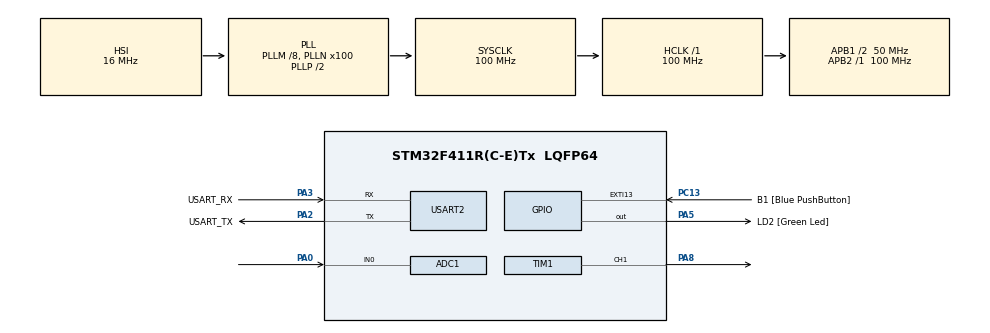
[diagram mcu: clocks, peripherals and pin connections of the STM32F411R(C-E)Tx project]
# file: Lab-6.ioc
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ADC1.Channel-0\#ChannelRegularConversion=ADC_CHANNEL_0
ADC1.ExternalTrigConv=ADC_EXTERNALTRIGCONV_T3_TRGO
ADC1.NbrOfConversion=1
ADC1.NbrOfConversionFlag=1
ADC1.Rank-0\#ChannelRegularConversion=1
ADC1.SamplingTime-0\#ChannelRegularConversion=ADC_SAMPLETIME_56CYCLES
ADC1.master=1
Mcu.Family=STM32F4
Mcu.Name=STM32F411R(C-E)Tx
Mcu.Package=LQFP64
NVIC.ADC_IRQn=true\:0\:0\:false\:false\:true\:true\:true
NVIC.PriorityGroup=NVIC_PRIORITYGROUP_0
NVIC.TIM1_TRG_COM_TIM11_IRQn=true\:0\:0\:false\:false\:true\:true\:true
PA0-WKUP.Signal=ADCx_IN0
PA13.GPIO_Label=TMS
PA13.Mode=Serial_Wire
PA13.Signal=SYS_JTMS-SWDIO
PA14.GPIO_Label=TCK
PA14.Mode=Serial_Wire
PA14.Signal=SYS_JTCK-SWCLK
PA2.GPIO_Label=USART_TX
PA2.Mode=Asynchronous
PA2.Signal=USART2_TX
PA3.GPIO_Label=USART_RX
PA3.Mode=Asynchronous
PA3.Signal=USART2_RX
PA5.GPIO_Label=LD2 [Green Led]
PA5.Signal=GPIO_Output
PA8.Signal=S_TIM1_CH1
PB3.GPIO_Label=SWO
PB3.Signal=SYS_JTDO-SWO
PC13-ANTI_TAMP.GPIO_Label=B1 [Blue PushButton]
PC13-ANTI_TAMP.GPIO_ModeDefaultEXTI=GPIO_MODE_IT_FALLING
PC13-ANTI_TAMP.Signal=GPXTI13
PC14-OSC32_IN.Mode=LSE-External-Oscillator
PC14-OSC32_IN.Signal=RCC_OSC32_IN
PC15-OSC32_OUT.Mode=LSE-External-Oscillator
PC15-OSC32_OUT.Signal=RCC_OSC32_OUT
PH0\ -\ OSC_IN.Mode=HSE-External-Clock-Source
PH0\ -\ OSC_IN.Signal=RCC_OSC_IN
PH1\ -\ OSC_OUT.Mode=HSE-External-Clock-Source
PH1\ -\ OSC_OUT.Signal=RCC_OSC_OUT
ProjectManager.HeapSize=0x200
ProjectManager.StackSize=0x400
ProjectManager.TargetToolchain=STM32CubeIDE
RCC.48MHZClocksFreq_Value=50000000
RCC.AHBFreq_Value=100000000
RCC.APB1CLKDivider=RCC_HCLK_DIV2
RCC.APB1Freq_Value=50000000
RCC.APB1TimFreq_Value=100000000
RCC.APB2Freq_Value=100000000
RCC.APB2TimFreq_Value=100000000
RCC.CortexFreq_Value=100000000
RCC.FLatency-AdvancedSettings=FLASH_LATENCY_3
RCC.HCLKFreq_Value=100000000
RCC.HSE_VALUE=8000000
RCC.HSI_VALUE=16000000
RCC.PLLM=8
RCC.PLLN=100
RCC.SYSCLKFreq_VALUE=100000000
RCC.SYSCLKSource=RCC_SYSCLKSOURCE_PLLCLK
RCC.VCOOutputFreq_Value=200000000
SH.ADCx_IN0.0=ADC1_IN0,IN0
SH.S_TIM1_CH1.0=TIM1_CH1,PWM Generation1 CH1
TIM1.AutoReloadPreload=TIM_AUTORELOAD_PRELOAD_ENABLE
TIM1.Channel-PWM\ Generation1\ CH1=TIM_CHANNEL_1
TIM1.Period=10000
TIM11.Prescaler=99
TIM2.Period=1000
TIM2.Prescaler=99
TIM3.Period=1000
TIM3.Prescaler=99
TIM3.TIM_MasterOutputTrigger=TIM_TRGO_UPDATE
USART2.VirtualMode=VM_ASYNC
VP_TIM11_VS_ClockSourceINT.Mode=Enable_Timer
VP_TIM1_VS_ClockSourceINT.Mode=Internal
VP_TIM2_VS_ClockSourceINT.Mode=Internal
VP_TIM3_VS_ClockSourceINT.Mode=Internal
board=NUCLEO-F411RE

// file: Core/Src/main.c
/* USER CODE BEGIN Header */
/**
 ******************************************************************************
 * @file           : main.c
 * @brief          : Main program body
 ******************************************************************************
 * @attention
 *
 * <h2><center>&copy; Copyright (c) 2021 STMicroelectronics.
 * All rights reserved.</center></h2>
 *
 * This software component is licensed by ST under BSD 3-Clause license,
 * the "License"; You may not use this file except in compliance with the
 * License. You may obtain a copy of the License at:
 *                        opensource.org/licenses/BSD-3-Clause
 *
 ******************************************************************************
 */
/* USER CODE END Header */
#include "main.h"

ADC_HandleTypeDef hadc1;

TIM_HandleTypeDef htim1;
TIM_HandleTypeDef htim2;
TIM_HandleTypeDef htim3;
TIM_HandleTypeDef htim11;

UART_HandleTypeDef huart2;

/* USER CODE BEGIN PV */

uint8_t ADCUpdateFlag = 0;
uint16_t ADCFeedBack = 0;

uint16_t PWMOut = 0;
uint64_t _micro = 0;
uint64_t TimeOutputLoop = 0;

float VoltageFeedback = 0;
float VoltageSource = 3.3;
float VoltageReference = 1.0;
float VoltageError = 0;

uint32_t K_p = 500;

/* USER CODE END PV */

void SystemClock_Config(void);
static void MX_GPIO_Init(void);
static void MX_USART2_UART_Init(void);
static void MX_ADC1_Init(void);
static void MX_TIM3_Init(void);
static void MX_TIM1_Init(void);
static void MX_TIM11_Init(void);
static void MX_TIM2_Init(void);
/* USER CODE BEGIN PFP */
uint64_t micros();
/* USER CODE END PFP */

int main(void)
{

  /* MCU Configuration--------------------------------------------------------*/

  /* Reset of all peripherals, Initializes the Flash interface and the Systick. */
  HAL_Init();

  /* Configure the system clock */
  SystemClock_Config();

  /* Initialize all configured peripherals */
  MX_GPIO_Init();
  MX_USART2_UART_Init();
  MX_ADC1_Init();
  MX_TIM3_Init();
  MX_TIM1_Init();
  MX_TIM11_Init();
  MX_TIM2_Init();
  /* USER CODE BEGIN 2 */
	//Start ADC
	HAL_ADC_Start_IT(&hadc1);
	HAL_TIM_Base_Start(&htim3);

	//Start PWM
	HAL_TIM_Base_Start(&htim1);
	HAL_TIM_PWM_Start(&htim1, TIM_CHANNEL_1);

	//Start Micros
	HAL_TIM_Base_Start_IT(&htim11);

  /* USER CODE END 2 */

  /* Infinite loop */
	while (1) {

    /* USER CODE BEGIN 3 */

		//1 Khz Loop
		if (micros() - TimeOutputLoop > 1000)
		{
			TimeOutputLoop = micros();
			// #001  (Constant Output's frequency 1kHz)

			VoltageFeedback = ADCFeedBack * VoltageSource / 4096.0;

			VoltageError = VoltageReference - VoltageFeedback;

			PWMOut = PWMOut + (VoltageError * K_p);

			__HAL_TIM_SET_COMPARE(&htim1, TIM_CHANNEL_1, PWMOut);
		}

		if (ADCUpdateFlag)
		{
			ADCUpdateFlag = 0;
			//#002  (Input's frequency)
		}

	}
  /* USER CODE END 3 */
}

void SystemClock_Config(void)
{
  RCC_OscInitTypeDef RCC_OscInitStruct = {0};
  RCC_ClkInitTypeDef RCC_ClkInitStruct = {0};

  /** Configure the main internal regulator output voltage
  */
  __HAL_RCC_PWR_CLK_ENABLE();
  __HAL_PWR_VOLTAGESCALING_CONFIG(PWR_REGULATOR_VOLTAGE_SCALE1);
  /** Initializes the RCC Oscillators according to the specified parameters
  * in the RCC_OscInitTypeDef structure.
  */
  RCC_OscInitStruct.OscillatorType = RCC_OSCILLATORTYPE_HSI;
  RCC_OscInitStruct.HSIState = RCC_HSI_ON;
  RCC_OscInitStruct.HSICalibrationValue = RCC_HSICALIBRATION_DEFAULT;
  RCC_OscInitStruct.PLL.PLLState = RCC_PLL_ON;
  RCC_OscInitStruct.PLL.PLLSource = RCC_PLLSOURCE_HSI;
  RCC_OscInitStruct.PLL.PLLM = 8;
  RCC_OscInitStruct.PLL.PLLN = 100;
  RCC_OscInitStruct.PLL.PLLP = RCC_PLLP_DIV2;
  RCC_OscInitStruct.PLL.PLLQ = 4;
  if (HAL_RCC_OscConfig(&RCC_OscInitStruct) != HAL_OK)
  {
    Error_Handler();
  }
  /** Initializes the CPU, AHB and APB buses clocks
  */
  RCC_ClkInitStruct.ClockType = RCC_CLOCKTYPE_HCLK|RCC_CLOCKTYPE_SYSCLK
                              |RCC_CLOCKTYPE_PCLK1|RCC_CLOCKTYPE_PCLK2;
  RCC_ClkInitStruct.SYSCLKSource = RCC_SYSCLKSOURCE_PLLCLK;
  RCC_ClkInitStruct.AHBCLKDivider = RCC_SYSCLK_DIV1;
  RCC_ClkInitStruct.APB1CLKDivider = RCC_HCLK_DIV2;
  RCC_ClkInitStruct.APB2CLKDivider = RCC_HCLK_DIV1;

  if (HAL_RCC_ClockConfig(&RCC_ClkInitStruct, FLASH_LATENCY_3) != HAL_OK)
  {
    Error_Handler();
  }
}

static void MX_ADC1_Init(void)
{

  ADC_ChannelConfTypeDef sConfig = {0};

  /** Configure the global features of the ADC (Clock, Resolution, Data Alignment and number of conversion)
  */
  hadc1.Instance = ADC1;
  hadc1.Init.ClockPrescaler = ADC_CLOCK_SYNC_PCLK_DIV4;
  hadc1.Init.Resolution = ADC_RESOLUTION_12B;
  hadc1.Init.ScanConvMode = DISABLE;
  hadc1.Init.ContinuousConvMode = DISABLE;
  hadc1.Init.DiscontinuousConvMode = DISABLE;
  hadc1.Init.ExternalTrigConvEdge = ADC_EXTERNALTRIGCONVEDGE_RISING;
  hadc1.Init.ExternalTrigConv = ADC_EXTERNALTRIGCONV_T3_TRGO;
  hadc1.Init.DataAlign = ADC_DATAALIGN_RIGHT;
  hadc1.Init.NbrOfConversion = 1;
  hadc1.Init.DMAContinuousRequests = DISABLE;
  hadc1.Init.EOCSelection = ADC_EOC_SINGLE_CONV;
  if (HAL_ADC_Init(&hadc1) != HAL_OK)
  {
    Error_Handler();
  }
  /** Configure for the selected ADC regular channel its corresponding rank in the sequencer and its sample time.
  */
  sConfig.Channel = ADC_CHANNEL_0;
  sConfig.Rank = 1;
  sConfig.SamplingTime = ADC_SAMPLETIME_56CYCLES;
  if (HAL_ADC_ConfigChannel(&hadc1, &sConfig) != HAL_OK)
  {
    Error_Handler();
  }

}

static void MX_TIM1_Init(void)
{

  TIM_ClockConfigTypeDef sClockSourceConfig = {0};
  TIM_MasterConfigTypeDef sMasterConfig = {0};
  TIM_OC_InitTypeDef sConfigOC = {0};
  TIM_BreakDeadTimeConfigTypeDef sBreakDeadTimeConfig = {0};

  htim1.Instance = TIM1;
  htim1.Init.Prescaler = 0;
  htim1.Init.CounterMode = TIM_COUNTERMODE_UP;
  htim1.Init.Period = 10000;
  htim1.Init.ClockDivision = TIM_CLOCKDIVISION_DIV1;
  htim1.Init.RepetitionCounter = 0;
  htim1.Init.AutoReloadPreload = TIM_AUTORELOAD_PRELOAD_ENABLE;
  if (HAL_TIM_Base_Init(&htim1) != HAL_OK)
  {
    Error_Handler();
  }
  sClockSourceConfig.ClockSource = TIM_CLOCKSOURCE_INTERNAL;
  if (HAL_TIM_ConfigClockSource(&htim1, &sClockSourceConfig) != HAL_OK)
  {
    Error_Handler();
  }
  if (HAL_TIM_PWM_Init(&htim1) != HAL_OK)
  {
    Error_Handler();
  }
  sMasterConfig.MasterOutputTrigger = TIM_TRGO_RESET;
  sMasterConfig.MasterSlaveMode = TIM_MASTERSLAVEMODE_DISABLE;
  if (HAL_TIMEx_MasterConfigSynchronization(&htim1, &sMasterConfig) != HAL_OK)
  {
    Error_Handler();
  }
  sConfigOC.OCMode = TIM_OCMODE_PWM1;
  sConfigOC.Pulse = 0;
  sConfigOC.OCPolarity = TIM_OCPOLARITY_HIGH;
  sConfigOC.OCNPolarity = TIM_OCNPOLARITY_HIGH;
  sConfigOC.OCFastMode = TIM_OCFAST_DISABLE;
  sConfigOC.OCIdleState = TIM_OCIDLESTATE_RESET;
  sConfigOC.OCNIdleState = TIM_OCNIDLESTATE_RESET;
  if (HAL_TIM_PWM_ConfigChannel(&htim1, &sConfigOC, TIM_CHANNEL_1) != HAL_OK)
  {
    Error_Handler();
  }
  sBreakDeadTimeConfig.OffStateRunMode = TIM_OSSR_DISABLE;
  sBreakDeadTimeConfig.OffStateIDLEMode = TIM_OSSI_DISABLE;
  sBreakDeadTimeConfig.LockLevel = TIM_LOCKLEVEL_OFF;
  sBreakDeadTimeConfig.DeadTime = 0;
  sBreakDeadTimeConfig.BreakState = TIM_BREAK_DISABLE;
  sBreakDeadTimeConfig.BreakPolarity = TIM_BREAKPOLARITY_HIGH;
  sBreakDeadTimeConfig.AutomaticOutput = TIM_AUTOMATICOUTPUT_DISABLE;
  if (HAL_TIMEx_ConfigBreakDeadTime(&htim1, &sBreakDeadTimeConfig) != HAL_OK)
  {
    Error_Handler();
  }
  HAL_TIM_MspPostInit(&htim1);

}

static void MX_TIM2_Init(void)
{

  TIM_ClockConfigTypeDef sClockSourceConfig = {0};
  TIM_MasterConfigTypeDef sMasterConfig = {0};

  htim2.Instance = TIM2;
  htim2.Init.Prescaler = 99;
  htim2.Init.CounterMode = TIM_COUNTERMODE_UP;
  htim2.Init.Period = 1000;
  htim2.Init.ClockDivision = TIM_CLOCKDIVISION_DIV1;
  htim2.Init.AutoReloadPreload = TIM_AUTORELOAD_PRELOAD_DISABLE;
  if (HAL_TIM_Base_Init(&htim2) != HAL_OK)
  {
    Error_Handler();
  }
  sClockSourceConfig.ClockSource = TIM_CLOCKSOURCE_INTERNAL;
  if (HAL_TIM_ConfigClockSource(&htim2, &sClockSourceConfig) != HAL_OK)
  {
    Error_Handler();
  }
  sMasterConfig.MasterOutputTrigger = TIM_TRGO_RESET;
  sMasterConfig.MasterSlaveMode = TIM_MASTERSLAVEMODE_DISABLE;
  if (HAL_TIMEx_MasterConfigSynchronization(&htim2, &sMasterConfig) != HAL_OK)
  {
    Error_Handler();
  }

}

static void MX_TIM3_Init(void)
{

  TIM_ClockConfigTypeDef sClockSourceConfig = {0};
  TIM_MasterConfigTypeDef sMasterConfig = {0};

  htim3.Instance = TIM3;
  htim3.Init.Prescaler = 99;
  htim3.Init.CounterMode = TIM_COUNTERMODE_UP;
  htim3.Init.Period = 1000;
  htim3.Init.ClockDivision = TIM_CLOCKDIVISION_DIV1;
  htim3.Init.AutoReloadPreload = TIM_AUTORELOAD_PRELOAD_DISABLE;
  if (HAL_TIM_Base_Init(&htim3) != HAL_OK)
  {
    Error_Handler();
  }
  sClockSourceConfig.ClockSource = TIM_CLOCKSOURCE_INTERNAL;
  if (HAL_TIM_ConfigClockSource(&htim3, &sClockSourceConfig) != HAL_OK)
  {
    Error_Handler();
  }
  sMasterConfig.MasterOutputTrigger = TIM_TRGO_UPDATE;
  sMasterConfig.MasterSlaveMode = TIM_MASTERSLAVEMODE_DISABLE;
  if (HAL_TIMEx_MasterConfigSynchronization(&htim3, &sMasterConfig) != HAL_OK)
  {
    Error_Handler();
  }

}

static void MX_TIM11_Init(void)
{

  htim11.Instance = TIM11;
  htim11.Init.Prescaler = 99;
  htim11.Init.CounterMode = TIM_COUNTERMODE_UP;
  htim11.Init.Period = 65535;
  htim11.Init.ClockDivision = TIM_CLOCKDIVISION_DIV1;
  htim11.Init.AutoReloadPreload = TIM_AUTORELOAD_PRELOAD_DISABLE;
  if (HAL_TIM_Base_Init(&htim11) != HAL_OK)
  {
    Error_Handler();
  }

}

static void MX_USART2_UART_Init(void)
{

  huart2.Instance = USART2;
  huart2.Init.BaudRate = 115200;
  huart2.Init.WordLength = UART_WORDLENGTH_8B;
  huart2.Init.StopBits = UART_STOPBITS_1;
  huart2.Init.Parity = UART_PARITY_NONE;
  huart2.Init.Mode = UART_MODE_TX_RX;
  huart2.Init.HwFlowCtl = UART_HWCONTROL_NONE;
  huart2.Init.OverSampling = UART_OVERSAMPLING_16;
  if (HAL_UART_Init(&huart2) != HAL_OK)
  {
    Error_Handler();
  }

}

static void MX_GPIO_Init(void)
{
  GPIO_InitTypeDef GPIO_InitStruct = {0};

  /* GPIO Ports Clock Enable */
  __HAL_RCC_GPIOC_CLK_ENABLE();
  __HAL_RCC_GPIOH_CLK_ENABLE();
  __HAL_RCC_GPIOA_CLK_ENABLE();
  __HAL_RCC_GPIOB_CLK_ENABLE();

  /*Configure GPIO pin Output Level */
  HAL_GPIO_WritePin(LD2_GPIO_Port, LD2_Pin, GPIO_PIN_RESET);

  /*Configure GPIO pin : B1_Pin */
  GPIO_InitStruct.Pin = B1_Pin;
  GPIO_InitStruct.Mode = GPIO_MODE_IT_FALLING;
  GPIO_InitStruct.Pull = GPIO_NOPULL;
  HAL_GPIO_Init(B1_GPIO_Port, &GPIO_InitStruct);

  /*Configure GPIO pin : LD2_Pin */
  GPIO_InitStruct.Pin = LD2_Pin;
  GPIO_InitStruct.Mode = GPIO_MODE_OUTPUT_PP;
  GPIO_InitStruct.Pull = GPIO_NOPULL;
  GPIO_InitStruct.Speed = GPIO_SPEED_FREQ_LOW;
  HAL_GPIO_Init(LD2_GPIO_Port, &GPIO_InitStruct);

}

/* USER CODE BEGIN 4 */

void HAL_ADC_ConvCpltCallback(ADC_HandleTypeDef *hadc) {
	ADCFeedBack = HAL_ADC_GetValue(&hadc1);
	ADCUpdateFlag = 1;
}
void HAL_TIM_PeriodElapsedCallback(TIM_HandleTypeDef *htim) {
	if (htim == &htim11) {
		_micro += 65535;
	}
}

__inline__ uint64_t micros() {
	return _micro + htim11.Instance->CNT;
}
/* USER CODE END 4 */

void Error_Handler(void)
{
	__disable_irq();
	while (1) {
	}
}

/************************ (C) COPYRIGHT STMicroelectronics *****END OF FILE****/
